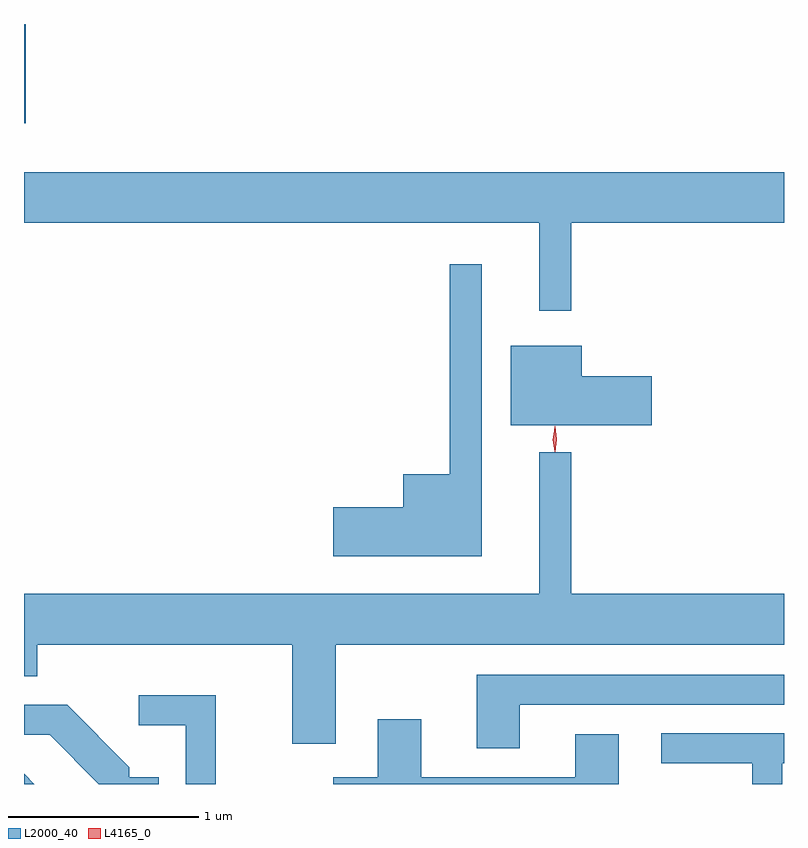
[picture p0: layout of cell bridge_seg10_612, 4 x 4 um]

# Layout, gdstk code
import gdstk
lib = gdstk.Library(unit=1e-6, precision=1e-09)
def R(c, l, rs):  # rectangles x0, y0, x1, y1
    for r in rs: c.add(gdstk.rectangle(r[:2], r[2:], *l))
def P(c, l, *ps):  # polygons
    for p in ps: c.add(gdstk.Polygon(p, *l))
L2000_40 = (2000, 40)
L4165_0 = (4165, 0)

bridge_seg10_612 = lib.new_cell('bridge_seg10_612')
R(bridge_seg10_612, L2000_40, [(817.879,2152.181,817.889,2152.703)])
P(bridge_seg10_612, L2000_40, [(820.759,2151.656),(821.879,2151.656),(821.879,2151.924),(817.879,2151.924),(817.879,2151.656),(820.591,2151.656),(820.591,2151.193),(820.759,2151.193)],
  [(820.289,2151.438),(820.121,2151.438),(820.121,2150.334),(819.876,2150.334),(819.876,2150.159),(819.506,2150.159),(819.506,2149.901),(820.289,2149.901)],
  [(821.184,2150.849),(820.814,2150.849),(820.814,2151.009),(820.441,2151.009),(820.441,2150.591),(821.184,2150.591)],
  [(819.519,2149.436),(821.879,2149.436),(821.879,2149.704),(820.759,2149.704),(820.759,2150.448),(820.591,2150.448),(820.591,2149.704),(817.879,2149.704),(817.879,2149.271),(817.949,2149.271),(817.949,2149.436),(819.291,2149.436),(819.291,2148.916),(819.519,2148.916)],
  [(820.489,2149.121),(821.879,2149.121),(821.879,2149.279),(820.261,2149.279),(820.261,2148.891),(820.489,2148.891)],
  [(818.889,2149.169),(818.483,2149.169),(818.483,2149.011),(818.731,2149.011),(818.731,2148.703),(818.889,2148.703)],
  [(818.588,2148.739),(818.434,2148.739),(818.434,2148.792),(818.107,2149.119),(817.879,2149.119),(817.879,2148.961),(818.014,2148.961),(818.272,2148.703),(818.588,2148.703)],
  [(821.009,2148.964),(820.781,2148.964),(820.781,2148.739),(819.969,2148.739),(819.969,2149.044),(819.741,2149.044),(819.741,2148.739),(819.506,2148.739),(819.506,2148.703),(821.009,2148.703)],
  [(821.869,2148.811),(821.879,2148.811),(821.879,2148.969),(821.233,2148.969),(821.233,2148.811),(821.711,2148.811),(821.711,2148.703),(821.869,2148.703)],
  [(817.879,2148.757),(817.879,2148.703),(817.933,2148.703)])
P(bridge_seg10_612, L4165_0, [(820.673,2150.453),(820.673,2150.454),(820.663,2150.516),(820.673,2150.579),(820.673,2150.58),(820.674,2150.579),(820.683,2150.516),(820.674,2150.454)],
  [(820.674,2150.45),(820.664,2150.518),(820.673,2150.586),(820.674,2150.586),(820.674,2150.586),(820.684,2150.518),(820.676,2150.45),(820.675,2150.45)])

lib.write_gds('bridge_seg10_612.gds')
